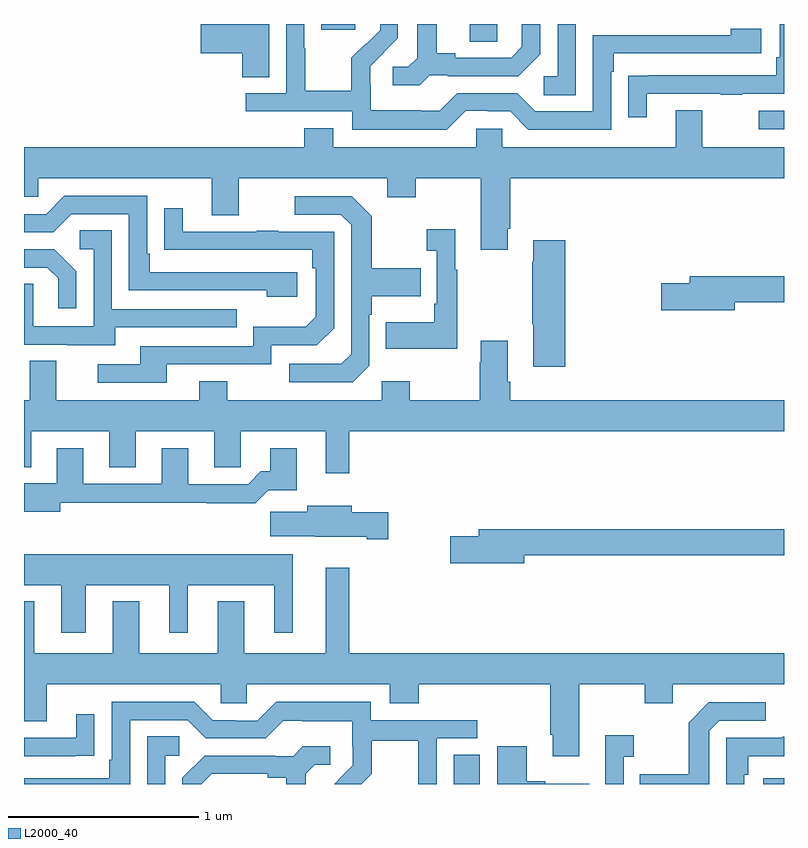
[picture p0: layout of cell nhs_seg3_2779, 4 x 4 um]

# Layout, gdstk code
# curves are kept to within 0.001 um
import gdstk
lib = gdstk.Library(unit=1e-6, precision=1e-09)
def R(c, l, rs):  # rectangles x0, y0, x1, y1
    for r in rs: c.add(gdstk.rectangle(r[:2], r[2:], *l))
def P(c, l, *ps):  # polygons
    for p in ps: c.add(gdstk.Polygon(p, *l))
L2000_40 = (2000, 40)

nhs_seg3_2779 = lib.new_cell('nhs_seg3_2779')
R(nhs_seg3_2779, L2000_40, [(257.261,692.4,257.398,692.555), (258.891,692.4,259,692.43), (258.867,695.847,259,695.943), (257.345,696.307,257.49,696.4), (256.565,696.369,256.744,696.4)])
P(nhs_seg3_2779, L2000_40, [(256.291,696.4),(255.93,696.4),(255.93,696.245),(256.148,696.245),(256.148,696.121),(256.291,696.121)],
  [(257.904,696.4),(257.808,696.4),(257.808,696.126),(257.736,696.126),(257.736,696.025),(257.904,696.025)],
  [(257.136,696.129),(257.23,696.129),(257.23,696.126),(257.602,696.126),(257.718,696.242),(257.718,696.4),(257.621,696.4),(257.621,696.279),(257.564,696.222),(257.269,696.222),(257.269,696.245),(257.173,696.245),(257.173,696.4),(257.069,696.4),(257.069,696.221),(257.022,696.174),(256.941,696.174),(256.941,696.077),(257.084,696.077)],
  [(258.277,696.033),(258.667,696.033),(258.667,696.028),(258.779,696.028),(258.779,696.033),(259,696.033),(259,696.4),(258.978,696.4),(258.978,696.226),(258.958,696.226),(258.958,696.129),(258.283,696.129),(258.283,696.128),(258.181,696.128),(258.181,695.91),(258.277,695.91)],
  [(257.325,695.943),(257.441,695.943),(257.441,695.94),(257.559,695.94),(257.655,695.844),(258.09,695.844),(258.09,696.149),(258.103,696.149),(258.103,696.246),(258.88,696.246),(258.88,696.376),(258.719,696.376),(258.719,696.342),(257.994,696.342),(257.994,695.94),(257.691,695.94),(257.595,696.036),(257.28,696.036),(257.187,695.943),(257.087,695.943),(257.087,695.947),(256.824,695.947),(256.824,696.081),(256.822,696.081),(256.822,696.178),(256.968,696.326),(256.968,696.4),(256.874,696.4),(256.874,696.368),(256.803,696.297),(256.8,696.3),(256.723,696.223),(256.723,696.049),(256.479,696.049),(256.479,696.272),(256.476,696.272),(256.476,696.4),(256.38,696.4),(256.38,696.036),(256.166,696.036),(256.166,695.94),(256.728,695.94),(256.728,695.843),(257.225,695.843)],
  [(256.627,695.851),(256.475,695.851),(256.475,695.752),(255,695.752),(255,695.49),(255.075,695.49),(255.075,695.588),(255.989,695.588),(255.989,695.394),(256.129,695.394),(256.129,695.588),(256.913,695.588),(256.913,695.489),(257.061,695.489),(257.061,695.588),(257.405,695.588),(257.405,695.211),(257.545,695.211),(257.545,695.323),(257.558,695.323),(257.558,695.588),(259,695.588),(259,695.752),(258.571,695.752),(258.571,695.947),(258.431,695.947),(258.431,695.752),(257.517,695.752),(257.517,695.85),(257.379,695.85),(257.379,695.752),(256.627,695.752)],
  [(256.438,695.094),(255.661,695.094),(255.661,695.191),(255.648,695.191),(255.648,695.496),(255.213,695.496),(255.117,695.4),(255,695.4),(255,695.304),(255.153,695.304),(255.249,695.4),(255.552,695.4),(255.552,694.998),(256.277,694.998),(256.277,694.964),(256.438,694.964)],
  [(256.818,694.602),(256.818,694.871),(256.831,694.871),(256.831,694.967),(257.087,694.967),(257.087,695.115),(256.831,695.115),(256.831,695.387),(256.725,695.493),(256.425,695.493),(256.425,695.397),(256.668,695.397),(256.722,695.343),(256.722,694.662),(256.671,694.611),(256.395,694.611),(256.395,694.515),(256.731,694.515)],
  [(255.751,694.608),(256.302,694.608),(256.302,694.71),(256.542,694.71),(256.632,694.8),(256.632,695.307),(256.337,695.307),(256.337,695.312),(256.225,695.312),(256.225,695.307),(255.835,695.307),(255.835,695.431),(255.739,695.431),(255.739,695.212),(256.516,695.211),(256.516,695.114),(256.536,695.114),(256.536,694.86),(256.483,694.807),(256.206,694.807),(256.206,694.704),(255.611,694.704),(255.611,694.608),(255.387,694.608),(255.387,694.512),(255.751,694.512)],
  [(257.281,695.107),(257.269,695.107),(257.269,695.32),(257.121,695.32),(257.121,695.207),(257.172,695.207),(257.172,694.927),(257.16,694.927),(257.16,694.831),(256.903,694.831),(256.903,694.691),(257.281,694.691)],
  [(255.481,694.803),(256.121,694.803),(256.121,694.899),(255.462,694.899),(255.462,695.315),(255.294,695.315),(255.294,695.214),(255.366,695.214),(255.366,694.809),(255.048,694.809),(255.048,695.033),(255,695.033),(255,694.713),(255.227,694.713),(255.227,694.709),(255.481,694.709)],
  [(257.849,695.263),(257.681,695.263),(257.681,695.15),(257.674,695.15),(257.674,694.819),(257.681,694.819),(257.681,694.596),(257.849,694.596)],
  [(255.276,695.098),(255.16,695.214),(255,695.214),(255,695.118),(255.122,695.118),(255.179,695.061),(255.179,694.905),(255.276,694.905)],
  [(258.742,694.936),(259,694.936),(259,695.072),(258.503,695.072),(258.503,695.036),(258.354,695.036),(258.354,694.894),(258.742,694.894)],
  [(259,694.42),(257.558,694.42),(257.558,694.516),(257.545,694.516),(257.545,694.732),(257.405,694.732),(257.405,694.619),(257.398,694.619),(257.398,694.42),(257.031,694.42),(257.031,694.519),(256.884,694.519),(256.884,694.42),(256.071,694.42),(256.071,694.519),(255.923,694.519),(255.923,694.42),(255.169,694.42),(255.169,694.628),(255.029,694.628),(255.029,694.42),(255,694.42),(255,694.067),(255.037,694.067),(255.037,694.256),(255.449,694.256),(255.449,694.066),(255.589,694.066),(255.589,694.256),(256.001,694.256),(256.001,694.066),(256.14,694.066),(256.14,694.256),(256.589,694.256),(256.589,694.035),(256.711,694.035),(256.711,694.256),(259,694.256)],
  [(255.19,693.88),(255.961,693.88),(255.961,693.878),(256.217,693.878),(256.286,693.947),(256.435,693.947),(256.435,694.168),(256.295,694.168),(256.295,694.045),(256.246,694.045),(256.179,693.978),(255.865,693.978),(255.865,694.168),(255.725,694.168),(255.725,693.981),(255.313,693.981),(255.313,694.168),(255.173,694.168),(255.173,693.982),(255,693.982),(255,693.833),(255.19,693.833)],
  [(256.918,693.831),(256.726,693.831),(256.726,693.865),(256.49,693.865),(256.49,693.833),(256.296,693.833),(256.296,693.704),(256.533,693.704),(256.533,693.701),(256.805,693.701),(256.805,693.689),(256.918,693.689)],
  [(257.632,693.604),(259,693.604),(259,693.74),(257.393,693.74),(257.393,693.704),(257.244,693.704),(257.244,693.562),(257.632,693.562)],
  [(255.325,693.446),(255.764,693.446),(255.764,693.195),(255.862,693.195),(255.862,693.446),(256.316,693.446),(256.316,693.195),(256.414,693.195),(256.414,693.61),(255,693.61),(255,693.446),(255.197,693.446),(255.197,693.195),(255.325,693.195)],
  [(257.923,692.924),(258.267,692.924),(258.267,692.825),(258.415,692.825),(258.415,692.924),(259,692.924),(259,693.088),(256.711,693.088),(256.711,693.538),(256.589,693.538),(256.589,693.088),(256.159,693.088),(256.159,693.361),(256.019,693.361),(256.019,693.088),(255.607,693.088),(255.607,693.361),(255.467,693.361),(255.467,693.088),(255.055,693.088),(255.055,693.361),(255,693.361),(255,692.73),(255.121,692.73),(255.121,692.924),(256.035,692.924),(256.035,692.826),(256.173,692.826),(256.173,692.924),(256.925,692.924),(256.925,692.825),(257.078,692.825),(257.078,692.924),(257.771,692.924),(257.771,692.659),(257.783,692.659),(257.783,692.547),(257.923,692.547)],
  [(255.558,692.736),(255.861,692.736),(255.957,692.64),(256.272,692.64),(256.365,692.733),(256.465,692.733),(256.465,692.729),(256.728,692.729),(256.728,692.595),(256.73,692.595),(256.73,692.498),(256.656,692.424),(256.657,692.423),(256.634,692.4),(256.776,692.4),(256.829,692.453),(256.829,692.628),(257.074,692.628),(257.074,692.404),(257.076,692.404),(257.076,692.4),(257.172,692.4),(257.172,692.64),(257.386,692.64),(257.386,692.736),(256.824,692.736),(256.824,692.833),(256.327,692.833),(256.227,692.733),(256.112,692.733),(256.112,692.736),(255.993,692.736),(255.897,692.832),(255.462,692.832),(255.462,692.527),(255.449,692.527),(255.449,692.43),(255,692.43),(255,692.4),(255.558,692.4)],
  [(258.606,692.679),(258.66,692.733),(258.904,692.733),(258.904,692.829),(258.603,692.829),(258.498,692.723),(258.498,692.451),(258.241,692.451),(258.241,692.4),(258.606,692.4)],
  [(255.269,692.548),(255.371,692.548),(255.371,692.767),(255.275,692.767),(255.275,692.643),(255,692.643),(255,692.547),(255.269,692.547)],
  [(258.156,692.543),(258.208,692.543),(258.208,692.656),(258.06,692.656),(258.06,692.4),(258.156,692.4)],
  [(255.744,692.55),(255.817,692.55),(255.817,692.651),(255.648,692.651),(255.648,692.4),(255.744,692.4)],
  [(258.792,692.45),(258.812,692.45),(258.812,692.547),(259,692.547),(259,692.648),(258.991,692.648),(258.991,692.643),(258.696,692.643),(258.696,692.4),(258.792,692.4)],
  [(255.988,692.454),(256.283,692.454),(256.283,692.432),(256.379,692.432),(256.379,692.4),(256.483,692.4),(256.483,692.455),(256.53,692.502),(256.612,692.502),(256.612,692.599),(256.468,692.599),(256.416,692.547),(256.322,692.547),(256.322,692.55),(255.95,692.55),(255.834,692.434),(255.834,692.4),(255.934,692.4)],
  [(257.974,692.401),(257.743,692.401),(257.743,692.414),(257.647,692.414),(257.647,692.599),(257.492,692.599),(257.492,692.4),(257.974,692.4)])

lib.write_gds('nhs_seg3_2779.gds')
